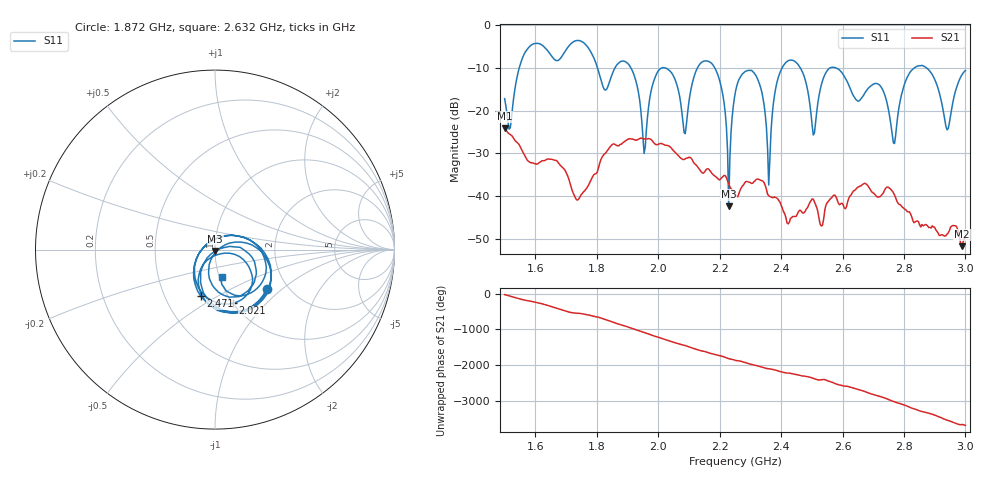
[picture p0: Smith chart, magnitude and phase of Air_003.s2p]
# HZ S RI R 50
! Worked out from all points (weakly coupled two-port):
!   404 points, 1.5 GHz to 3 GHz, reference 50 ohm
!   highest |S21| = -24.16 dB at 1.5 GHz (marker M1); lowest = -51.6 dB at 2.989 GHz (marker M2)
!   lowest |S11| = -42.4 dB at 2.23 GHz (marker M3), VSWR 1.02, Z = 50.1 - j0.753 ohm
!   |S11| at or under -10 dB: 2.184 GHz to 2.404 GHz (220.1 MHz wide, 9.6 % of centre); 2.577 GHz to 2.835 GHz (258.2 MHz wide, 9.54 % of centre); 2.873 GHz to end of sweep (the widest 3 of 8)
!   S12 and S22 are empty: the file has one direction only
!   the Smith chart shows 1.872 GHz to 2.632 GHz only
!   S11 on the Smith chart (normalised r, x): 1.872 GHz: 1.57, -0.78; 2.021 GHz: 1.00, -0.66; 2.471 GHz: 0.75, -0.42; 2.632 GHz: 1.03, -0.32
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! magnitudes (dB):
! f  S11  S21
! 1.5 GHz  -17.2  -24.2
! 1.753 GHz  -4.0  -39.3
! 1.872 GHz  -8.9  -28.2
! 1.954 GHz  -30.0  -26.6
! 2.002 GHz  -10.5  -27.8
! 2.021 GHz  -10.0  -28.1
! 2.088 GHz  -25.4  -31.3
! 2.177 GHz  -9.3  -34.9
! 2.23 GHz  -42.4  -37.1
! 2.252 GHz  -15.5  -39.8
! 2.319 GHz  -11.9  -36.1
! 2.36 GHz  -37.4  -39.9
! 2.401 GHz  -10.4  -42.2
! 2.471 GHz  -11.3  -43.9
! 2.501 GHz  -23.6  -40.6
! 2.557 GHz  -10.1  -40.9
! 2.632 GHz  -16.0  -39.2
! 2.751 GHz  -20.2  -38.0
! 2.859 GHz  -9.5  -46.6
! 2.94 GHz  -24.5  -48.8
! 2.989 GHz  -11.6  -51.6
! 3 GHz  -10.7  -49.4
